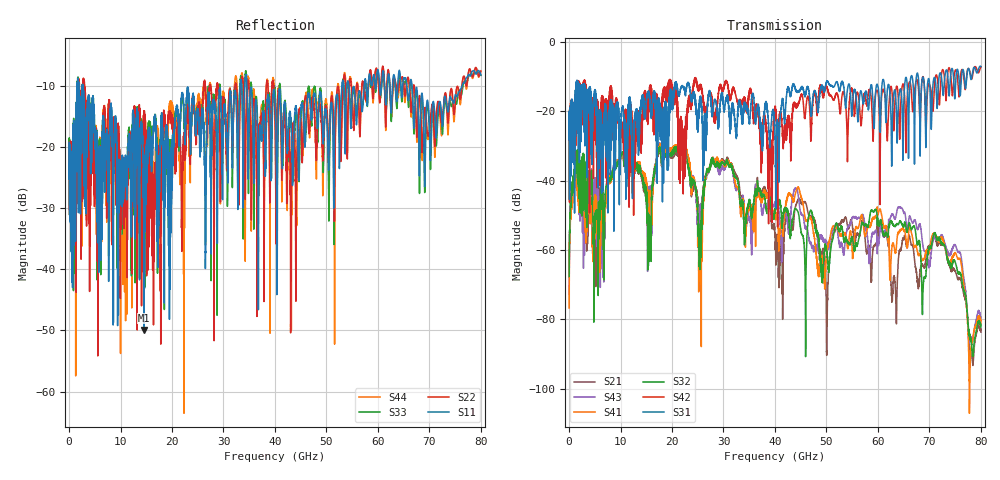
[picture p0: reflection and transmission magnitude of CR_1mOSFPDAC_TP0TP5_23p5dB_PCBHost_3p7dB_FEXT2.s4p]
!! Reference: shanbhag_3dj_01_2305.pdf
!! CHANNEL DESCRIPTION: TP0_TP5 CR Channel using 1meter DAC, PCB Host
!! MODEL DESCRIPTION: s4p, FEXT2
!! CONNECTOR DESCRIPTION: OSFP 200G SMT
!! CABLE DESCRIPTION: 1meter 26AWG Cable
!! MODEL STATUS: Developmental
!! PORT DEFINITIONS:
!! Port  1  ----->  Side A  Side B  <-----  Port  2
!! Port  3  ----->  Side A  Side B  <-----  Port  4
# HZ S MA R 50.000000
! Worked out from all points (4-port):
!   8000 points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, 10 MHz to 80 GHz, reference 50 ohm
!   strongest paths, dB at 10 MHz, 20.01 GHz, 40.01 GHz, 60.01 GHz, 80 GHz:
!     S31: -28.1, -14.7, -27.7, -12.9, -7.1
!     S42: -28.1, -12.8, -19.6, -14.6, -7.2
!     S32: -67.6, -32.8, -48.5, -51.7, -82.2
!     S41: -76.7, -32.3, -49.7, -49.8, -81.0
!     S43: -72.8, -32.7, -46.2, -58.4, -80.2
!     S21: -65.8, -33.4, -55.1, -55.7, -83.7
!   lowest |S11| = -49.9 dB at 14.52 GHz (marker M1), VSWR 1.01, Z = 50 + j0.318 ohm
!   |S11| at or under -10 dB: 2.653 GHz to 33.23 GHz (30.57 GHz wide, 170 % of centre); 34.52 GHz to 53.03 GHz (18.51 GHz wide, 42.3 % of centre); 66.61 GHz to 76.37 GHz (9.756 GHz wide, 13.6 % of centre) (the widest 3 of 21)
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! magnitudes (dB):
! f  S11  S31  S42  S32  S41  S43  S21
! 10 MHz  -25.3  -28.1  -28.1  -67.6  -76.7  -72.8  -65.8
! 1.31 GHz  -16.0  -12.3  -16.9  -33.2  -37.2  -34.4  -34.7
! 14.52 GHz  -49.9  -18.4  -17.8  -40.5  -37.7  -38.9  -40.8
! 45.77 GHz  -19.1  -15.6  -21.6  -61.8  -50.0  -53.1  -46.1
! 50.09 GHz  -15.9  -11.5  -13.4  -60.6  -59.7  -57.7  -80.1
! 64.36 GHz  -8.8  -13.7  -20.7  -51.6  -54.1  -47.7  -59.8
! 80 GHz  -8.2  -7.1  -7.2  -82.2  -81.0  -80.2  -83.7
